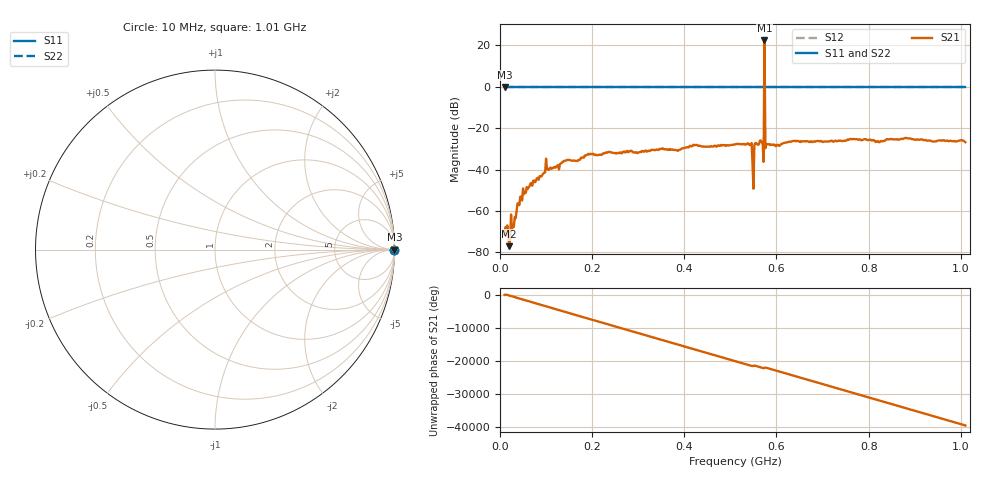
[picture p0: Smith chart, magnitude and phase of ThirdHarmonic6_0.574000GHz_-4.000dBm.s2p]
! 8/15/2025 6:27:46 PM
! C:\ANRITSUVNA\TEMP\TEMP.S2P
! CHANNEL.1
! TR.MEASUREMENT
! RAW.DATA
! RF.CORRECTION.OFF
! AVERAGING.OFF
! IF.BANDWIDTH: 5KHZ
! SWEEPTYPE:  FREQ.SWEEP(Linear)
! Reference Plane Port Info
! PORT:  PORT1  PORT2
! DISTANCE:  0  m  0  m
! TIME:  0  s  0  s
! PHASE.OFFSET:  0  deg.  0  deg.
! LOSS:  0  dB  0  dB
! REF.LOSS:  0  dB  0  dB
! REF.FREQ:  0  Hz  0  Hz
! Power Info
! POWER:  -20  dBm  -20  dBm
! EFF.POWER:  -20  dBm  -20  dBm
! SOURCE.ATTEN:  0  dB  0  dB
! TEST.ATTEN:  0  dB  0  dB
# GHZ S RI R 50.0
! FREQ.GHZ  S11RE  S11IM  S21RE  S21IM  S12RE  S12IM  S22RE  S22IM
!; PortSelection: Port_12
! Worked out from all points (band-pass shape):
!   501 points, 10 MHz to 1.01 GHz, reference 50 ohm
!   highest |S21| = 22.43 dB at 574 MHz (marker M1); lowest = -77.0 dB at 20 MHz (marker M2)
!   |S21| within 3 dB of the highest: 573.8978 MHz to 574.1152 MHz (217.4 kHz wide, 0.0379 % of centre)
!   lowest |S11| = 0.0 dB at 10 MHz (marker M3)
!   |S11| at or under -10 dB: nowhere
!   |S22| runs from 0.0 to 0.0 dB; largest |S21 - S12| = 14
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0.01  1 0  0.000219 -0.000151  1 0  1 0
0.02  1 0  -0.00011 8.76e-05  1 0  1 0
0.03  1 0  -0.000111 0.000399  1 0  1 0
0.04  1 0  0.00106 0.00106  1 0  1 0
0.048  1 0  4.62e-05 0.00179  1 0  1 0
0.1  1 0  -0.00573 0.0175  1 0  1 0
0.178  1 0  -0.0189 -0.00399  1 0  1 0
0.344  1 0  0.0284 -0.00869  1 0  1 0
0.51  1 0  -0.0361 0.0192  1 0  1 0
0.542  1 0  0.0215 -0.0329  1 0  1 0
0.546  1 0  -0.0344 0.0271  1 0  1 0
0.552  1 0  -0.00487 -0.0391  1 0  1 0
0.556  1 0  -0.00589 0.0434  1 0  1 0
0.566  1 0  0.0248 0.044  1 0  1 0
0.568  1 0  0.0428 -0.0165  1 0  1 0
0.57  1 0  -0.0103 -0.0437  1 0  1 0
0.574  1 0  -4.936 -12.27  1 0  1 0
0.578  1 0  0.0153 -0.0379  1 0  1 0
0.58  1 0  -0.0351 -0.0222  1 0  1 0
0.678  1 0  -0.0281 -0.0366  1 0  1 0
0.844  1 0  0.0459 0.0274  1 0  1 0
1.01  1 0  -0.0459 0.000601  1 0  1 0
